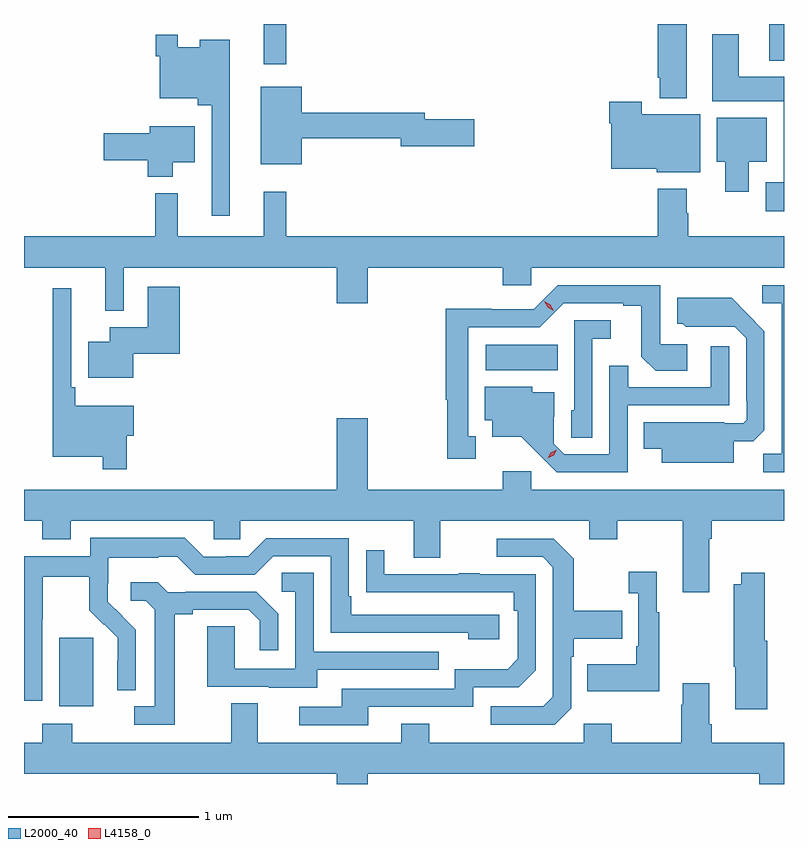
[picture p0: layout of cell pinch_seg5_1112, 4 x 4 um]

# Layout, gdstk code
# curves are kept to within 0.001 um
import gdstk
lib = gdstk.Library(unit=1e-6, precision=1e-09)
def R(c, l, rs):  # rectangles x0, y0, x1, y1
    for r in rs: c.add(gdstk.rectangle(r[:2], r[2:], *l))
def P(c, l, *ps):  # polygons
    for p in ps: c.add(gdstk.Polygon(p, *l))
L2000_40 = (2000, 40)
L4158_0 = (4158, 0)

pinch_seg5_1112 = lib.new_cell('pinch_seg5_1112')
R(pinch_seg5_1112, L2000_40, [(786.923,841.13,787.102,841.491), (789.168,842.9,789.548,843.034), (788,844.509,788.117,844.722), (790.661,844.529,790.738,844.722)])
P(pinch_seg5_1112, L2000_40, [(790.225,844.722),(790.073,844.722),(790.073,844.438),(790.085,844.438),(790.085,844.331),(790.225,844.331)],
  [(790.738,844.444),(790.501,844.444),(790.501,844.669),(790.361,844.669),(790.361,844.316),(790.736,844.316),(790.736,843.889),(790.641,843.889),(790.641,843.737),(790.738,843.737)],
  [(787.822,844.639),(787.664,844.639),(787.664,844.6),(787.548,844.6),(787.548,844.666),(787.432,844.666),(787.432,844.553),(787.452,844.553),(787.452,844.331),(787.652,844.331),(787.652,844.295),(787.725,844.295),(787.725,843.714),(787.822,843.714)],
  [(788.2,844.12),(788.72,844.12),(788.72,844.078),(789.109,844.078),(789.109,844.22),(788.848,844.22),(788.848,844.256),(788.2,844.256),(788.2,844.393),(787.985,844.393),(787.985,843.983),(788.2,843.983)],
  [(790.297,844.246),(789.988,844.246),(789.988,844.312),(789.818,844.312),(789.818,844.199),(789.83,844.199),(789.83,843.959),(790.068,843.959),(790.068,843.941),(790.297,843.941)],
  [(790.552,843.998),(790.648,843.998),(790.648,844.228),(790.385,844.228),(790.385,843.998),(790.43,843.998),(790.43,843.84),(790.552,843.84)],
  [(787.522,843.995),(787.636,843.995),(787.636,844.183),(787.4,844.183),(787.4,844.148),(787.158,844.148),(787.158,844.006),(787.388,844.006),(787.388,843.917),(787.522,843.917)],
  [(788.117,843.838),(788,843.838),(788,843.604),(787.547,843.604),(787.547,843.832),(787.429,843.832),(787.429,843.604),(786.738,843.604),(786.738,843.44),(787.166,843.44),(787.166,843.212),(787.263,843.212),(787.263,843.44),(788.384,843.44),(788.384,843.252),(788.548,843.252),(788.548,843.44),(789.257,843.44),(789.257,843.347),(789.408,843.347),(789.408,843.44),(790.738,843.44),(790.738,843.604),(790.233,843.604),(790.233,843.725),(790.225,843.725),(790.225,843.856),(790.073,843.856),(790.073,843.604),(788.117,843.604)],
  [(790.738,843.348),(790.623,843.348),(790.623,843.252),(790.725,843.252),(790.725,842.459),(790.63,842.459),(790.63,842.364),(790.738,842.364)],
  [(789.115,842.553),(789.076,842.553),(789.076,843.126),(789.453,843.126),(789.579,843.252),(789.893,843.252),(789.893,843.24),(789.987,843.24),(789.987,842.972),(790.063,842.896),(790.228,842.896),(790.228,843.036),(790.086,843.036),(790.086,843.348),(789.546,843.348),(789.42,843.222),(789.198,843.222),(789.198,843.224),(788.958,843.224),(788.958,842.745),(788.965,842.745),(788.965,842.433),(789.115,842.433)],
  [(787.312,842.987),(787.559,842.987),(787.559,843.34),(787.388,843.34),(787.388,843.127),(787.19,843.127),(787.19,843.049),(787.076,843.049),(787.076,842.861),(787.312,842.861)],
  [(787.28,842.555),(787.315,842.555),(787.315,842.713),(787.007,842.713),(787.007,842.809),(786.987,842.809),(786.987,843.331),(786.89,843.331),(786.89,842.444),(787.152,842.444),(787.152,842.379),(787.28,842.379)],
  [(790.474,842.525),(790.576,842.525),(790.635,842.584),(790.635,843.106),(790.463,843.28),(790.175,843.28),(790.175,843.144),(790.206,843.144),(790.222,843.128),(790.479,843.129),(790.539,843.069),(790.539,842.74),(790.542,842.74),(790.542,842.64),(790.524,842.622),(790.424,842.622),(790.424,842.626),(790,842.626),(790,842.486),(790.094,842.486),(790.094,842.414),(790.474,842.414)],
  [(789.729,843.065),(789.826,843.065),(789.826,843.162),(789.633,843.162),(789.633,842.688),(789.618,842.688),(789.618,842.545),(789.729,842.545)],
  [(789.915,842.715),(790.449,842.715),(790.449,843.025),(790.353,843.025),(790.353,842.811),(789.917,842.811),(789.917,842.924),(789.819,842.924),(789.819,842.457),(789.582,842.457),(789.525,842.514),(789.525,842.656),(789.529,842.656),(789.529,842.785),(789.414,842.785),(789.414,842.812),(789.164,842.812),(789.164,842.636),(789.203,842.636),(789.203,842.549),(789.355,842.549),(789.542,842.364),(789.915,842.364)],
  [(790.345,842.012),(790.358,842.012),(790.358,842.108),(790.738,842.108),(790.738,842.272),(789.408,842.272),(789.408,842.368),(789.257,842.368),(789.257,842.272),(788.548,842.272),(788.548,842.647),(788.384,842.647),(788.384,842.272),(786.738,842.272),(786.738,842.108),(786.833,842.108),(786.833,842.009),(786.985,842.009),(786.985,842.108),(787.737,842.108),(787.737,842.01),(787.875,842.01),(787.875,842.108),(788.789,842.108),(788.789,841.914),(788.929,841.914),(788.929,842.108),(789.713,842.108),(789.713,842.009),(789.861,842.009),(789.861,842.108),(790.205,842.108),(790.205,841.731),(790.345,841.731)],
  [(786.834,841.588),(786.837,841.588),(786.837,841.812),(787.081,841.812),(787.081,841.637),(787.158,841.56),(787.161,841.563),(787.232,841.493),(787.232,841.37),(787.23,841.37),(787.23,841.216),(787.326,841.216),(787.326,841.534),(787.18,841.682),(787.18,841.779),(787.182,841.779),(787.182,841.913),(787.445,841.913),(787.445,841.917),(787.545,841.917),(787.638,841.824),(787.953,841.824),(788.049,841.92),(788.352,841.92),(788.352,841.518),(789.077,841.518),(789.077,841.484),(789.238,841.484),(789.238,841.614),(788.461,841.614),(788.461,841.711),(788.448,841.711),(788.448,842.016),(788.013,842.016),(787.917,841.92),(787.799,841.92),(787.799,841.917),(787.683,841.917),(787.583,842.017),(787.086,842.017),(787.086,841.92),(786.738,841.92),(786.738,841.159),(786.834,841.159)],
  [(789.618,841.122),(789.618,841.391),(789.631,841.391),(789.631,841.487),(789.887,841.487),(789.887,841.635),(789.631,841.635),(789.631,841.907),(789.525,842.013),(789.225,842.013),(789.225,841.917),(789.468,841.917),(789.522,841.863),(789.522,841.182),(789.471,841.131),(789.195,841.131),(789.195,841.035),(789.531,841.035)],
  [(788.551,841.128),(789.102,841.128),(789.102,841.23),(789.342,841.23),(789.432,841.32),(789.432,841.827),(789.137,841.827),(789.137,841.832),(789.025,841.832),(789.025,841.827),(788.635,841.827),(788.635,841.951),(788.539,841.951),(788.539,841.732),(789.316,841.731),(789.316,841.634),(789.336,841.634),(789.336,841.38),(789.283,841.327),(789.006,841.327),(789.006,841.224),(788.411,841.224),(788.411,841.128),(788.187,841.128),(788.187,841.032),(788.551,841.032)],
  [(790.081,841.627),(790.069,841.627),(790.069,841.84),(789.921,841.84),(789.921,841.727),(789.972,841.727),(789.972,841.447),(789.96,841.447),(789.96,841.351),(789.703,841.351),(789.703,841.211),(790.081,841.211)],
  [(788.281,841.323),(788.921,841.323),(788.921,841.419),(788.262,841.419),(788.262,841.835),(788.094,841.835),(788.094,841.734),(788.166,841.734),(788.166,841.329),(787.848,841.329),(787.848,841.553),(787.703,841.553),(787.703,841.233),(788.027,841.233),(788.027,841.229),(788.281,841.229)],
  [(790.649,841.475),(790.636,841.475),(790.636,841.834),(790.514,841.834),(790.514,841.774),(790.474,841.774),(790.474,841.339),(790.481,841.339),(790.481,841.116),(790.649,841.116)],
  [(787.531,841.616),(787.627,841.616),(787.627,841.638),(787.922,841.638),(787.979,841.581),(787.979,841.425),(788.076,841.425),(788.076,841.618),(787.96,841.734),(787.588,841.734),(787.588,841.731),(787.494,841.731),(787.442,841.783),(787.299,841.783),(787.299,841.686),(787.38,841.686),(787.427,841.639),(787.427,841.131),(787.317,841.131),(787.317,841.035),(787.531,841.035)],
  [(788.548,840.776),(790.607,840.776),(790.607,840.722),(790.738,840.722),(790.738,840.94),(790.358,840.94),(790.358,841.036),(790.345,841.036),(790.345,841.252),(790.205,841.252),(790.205,841.139),(790.198,841.139),(790.198,840.94),(789.831,840.94),(789.831,841.039),(789.684,841.039),(789.684,840.94),(788.871,840.94),(788.871,841.039),(788.723,841.039),(788.723,840.94),(787.969,840.94),(787.969,841.148),(787.829,841.148),(787.829,840.94),(786.993,840.94),(786.993,841.039),(786.833,841.039),(786.833,840.94),(786.738,840.94),(786.738,840.776),(788.384,840.776),(788.384,840.722),(788.548,840.722)])
P(pinch_seg5_1112, L4158_0, [(789.494,842.436),(789.494,842.436),(789.511,842.465),(789.542,842.481),(789.542,842.481),(789.542,842.48),(789.525,842.451),(789.494,842.436)],
  [(789.525,843.212),(789.494,843.231),(789.476,843.264),(789.476,843.264),(789.477,843.264),(789.508,843.245),(789.526,843.212),(789.526,843.212)])

lib.write_gds('pinch_seg5_1112.gds')
